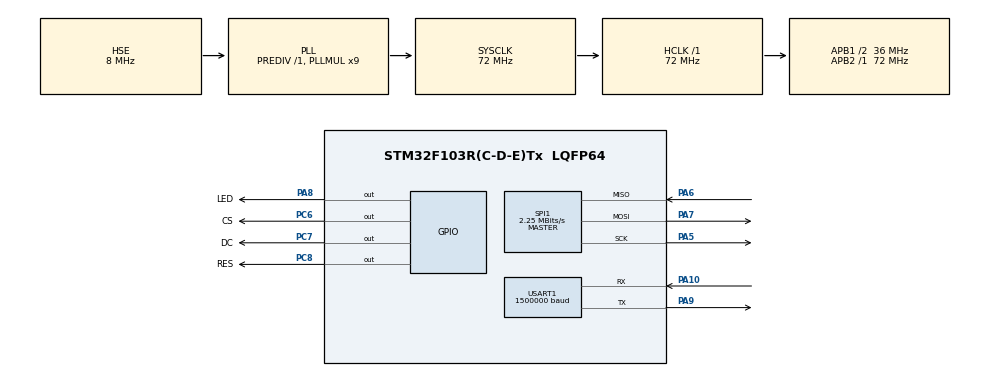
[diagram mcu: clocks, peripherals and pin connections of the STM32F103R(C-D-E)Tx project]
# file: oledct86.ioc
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Dma.Request0=SPI1_RX
Dma.Request1=SPI1_TX
Dma.Request2=USART1_RX
Dma.Request3=USART1_TX
Dma.SPI1_RX.0.Direction=DMA_PERIPH_TO_MEMORY
Dma.SPI1_RX.0.Instance=DMA1_Channel2
Dma.SPI1_RX.0.MemDataAlignment=DMA_MDATAALIGN_BYTE
Dma.SPI1_RX.0.MemInc=DMA_MINC_ENABLE
Dma.SPI1_RX.0.Mode=DMA_NORMAL
Dma.SPI1_RX.0.PeriphDataAlignment=DMA_PDATAALIGN_BYTE
Dma.SPI1_RX.0.PeriphInc=DMA_PINC_DISABLE
Dma.SPI1_RX.0.Priority=DMA_PRIORITY_LOW
Dma.SPI1_TX.1.Direction=DMA_MEMORY_TO_PERIPH
Dma.SPI1_TX.1.Instance=DMA1_Channel3
Dma.SPI1_TX.1.MemDataAlignment=DMA_MDATAALIGN_BYTE
Dma.SPI1_TX.1.MemInc=DMA_MINC_ENABLE
Dma.SPI1_TX.1.Mode=DMA_NORMAL
Dma.SPI1_TX.1.PeriphDataAlignment=DMA_PDATAALIGN_BYTE
Dma.SPI1_TX.1.PeriphInc=DMA_PINC_DISABLE
Dma.SPI1_TX.1.Priority=DMA_PRIORITY_LOW
Dma.USART1_RX.2.Direction=DMA_PERIPH_TO_MEMORY
Dma.USART1_RX.2.Instance=DMA1_Channel5
Dma.USART1_RX.2.MemDataAlignment=DMA_MDATAALIGN_BYTE
Dma.USART1_RX.2.MemInc=DMA_MINC_ENABLE
Dma.USART1_RX.2.Mode=DMA_NORMAL
Dma.USART1_RX.2.PeriphDataAlignment=DMA_PDATAALIGN_BYTE
Dma.USART1_RX.2.PeriphInc=DMA_PINC_DISABLE
Dma.USART1_RX.2.Priority=DMA_PRIORITY_LOW
Dma.USART1_TX.3.Direction=DMA_MEMORY_TO_PERIPH
Dma.USART1_TX.3.Instance=DMA1_Channel4
Dma.USART1_TX.3.MemDataAlignment=DMA_MDATAALIGN_BYTE
Dma.USART1_TX.3.MemInc=DMA_MINC_ENABLE
Dma.USART1_TX.3.Mode=DMA_NORMAL
Dma.USART1_TX.3.PeriphDataAlignment=DMA_PDATAALIGN_BYTE
Dma.USART1_TX.3.PeriphInc=DMA_PINC_DISABLE
Dma.USART1_TX.3.Priority=DMA_PRIORITY_LOW
Mcu.Family=STM32F1
Mcu.Name=STM32F103R(C-D-E)Tx
Mcu.Package=LQFP64
NVIC.DMA1_Channel2_IRQn=true\:0\:0\:false\:false\:true\:false\:true
NVIC.DMA1_Channel3_IRQn=true\:0\:0\:false\:false\:true\:false\:true
NVIC.DMA1_Channel4_IRQn=true\:0\:0\:false\:false\:true\:false\:true
NVIC.DMA1_Channel5_IRQn=true\:0\:0\:false\:false\:true\:false\:true
NVIC.PriorityGroup=NVIC_PRIORITYGROUP_4
NVIC.SPI1_IRQn=true\:1\:0\:true\:false\:true\:true\:true
NVIC.USART1_IRQn=true\:1\:0\:true\:false\:true\:true\:true
PA10.Mode=Asynchronous
PA10.Signal=USART1_RX
PA13.Mode=Serial_Wire
PA13.Signal=SYS_JTMS-SWDIO
PA14.Mode=Serial_Wire
PA14.Signal=SYS_JTCK-SWCLK
PA5.Mode=Full_Duplex_Master
PA5.Signal=SPI1_SCK
PA6.Mode=Full_Duplex_Master
PA6.Signal=SPI1_MISO
PA7.Mode=Full_Duplex_Master
PA7.Signal=SPI1_MOSI
PA8.GPIO_Label=LED
PA8.Signal=GPIO_Output
PA9.Mode=Asynchronous
PA9.Signal=USART1_TX
PC6.GPIO_Label=CS
PC6.GPIO_Speed=GPIO_SPEED_FREQ_HIGH
PC6.Signal=GPIO_Output
PC7.GPIO_Label=DC
PC7.GPIO_Speed=GPIO_SPEED_FREQ_HIGH
PC7.Signal=GPIO_Output
PC8.GPIO_Label=RES
PC8.GPIO_Speed=GPIO_SPEED_FREQ_HIGH
PC8.Signal=GPIO_Output
PD0-OSC_IN.Mode=HSE-External-Oscillator
PD0-OSC_IN.Signal=RCC_OSC_IN
PD1-OSC_OUT.Mode=HSE-External-Oscillator
PD1-OSC_OUT.Signal=RCC_OSC_OUT
ProjectManager.HeapSize=0x200
ProjectManager.StackSize=0x400
ProjectManager.TargetToolchain=MDK-ARM V5.27
RCC.AHBFreq_Value=72000000
RCC.APB1CLKDivider=RCC_HCLK_DIV2
RCC.APB1Freq_Value=36000000
RCC.APB1TimFreq_Value=72000000
RCC.APB2Freq_Value=72000000
RCC.APB2TimFreq_Value=72000000
RCC.EnbaleCSS=true
RCC.HCLKFreq_Value=72000000
RCC.PLLMUL=RCC_PLL_MUL9
RCC.PLLSourceVirtual=RCC_PLLSOURCE_HSE
RCC.SYSCLKFreq_VALUE=72000000
RCC.SYSCLKSource=RCC_SYSCLKSOURCE_PLLCLK
RCC.USBFreq_Value=72000000
SPI1.BaudRatePrescaler=SPI_BAUDRATEPRESCALER_32
SPI1.CalculateBaudRate=2.25 MBits/s
SPI1.Direction=SPI_DIRECTION_2LINES
SPI1.Mode=SPI_MODE_MASTER
SPI1.VirtualType=VM_MASTER
USART1.BaudRate=1500000
USART1.VirtualMode=VM_ASYNC
board=custom

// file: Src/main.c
/* USER CODE BEGIN Header */
/**
  ******************************************************************************
  * @file           : main.c
  * @brief          : Main program body
  ******************************************************************************
  * @attention
  *
  * <h2><center>&copy; Copyright (c) 2021 STMicroelectronics.
  * All rights reserved.</center></h2>
  *
  * This software component is licensed by ST under BSD 3-Clause license,
  * the "License"; You may not use this file except in compliance with the
  * License. You may obtain a copy of the License at:
  *                        opensource.org/licenses/BSD-3-Clause
  *
  ******************************************************************************
  */
/* USER CODE END Header */
#include "main.h"
#include "dma.h"
#include "spi.h"
#include "usart.h"
#include "gpio.h"

/* USER CODE BEGIN Includes */
#include "string.h"
#include "u8x8.h"
#include "u8g2.h"
#include "stdio.h"
/* USER CODE END Includes */

/* USER CODE BEGIN PTD */
#define U1_printf1_IT(...) HAL_UART_Transmit_IT(&huart1,\
																			(uint8_t *)u_buf,\
																			 sprintf((char *)u_buf,__VA_ARGS__));
#define U1_printf1_DMA(...) HAL_UART_Transmit_DMA(&huart1,\
																			(uint8_t *)u_buf,\
																			 sprintf((char *)u_buf,__VA_ARGS__));
#define U1_printf1(...) HAL_UART_Transmit(&huart1,\
																			(uint8_t *)u_buf,\
																			 sprintf((char *)u_buf,__VA_ARGS__),\
																			 0xFFFF);
/* USER CODE END PTD */

void SystemClock_Config(void);

/* USER CODE BEGIN 0 */
uint8_t u_buf[256],buff[600];
uint8_t u8x8_gpio_and_delay_template(u8x8_t *u8x8, uint8_t msg, uint8_t arg_int, void *arg_ptr){
  switch(msg)
  {
    case U8X8_MSG_GPIO_AND_DELAY_INIT:	// called once during init phase of u8g2/u8x8
		break;							// can be used to setup pins
    case U8X8_MSG_DELAY_NANO:			// delay arg_int * 1 nano second
      break;
    case U8X8_MSG_DELAY_100NANO:		// delay arg_int * 100 nano seconds
			//__NOP();
      break;
    case U8X8_MSG_DELAY_10MICRO:		// delay arg_int * 10 micro seconds
//				for (uint16_t n = 0; n < 320; n++)
//    {
//       __NOP();
//    }
      break;
    case U8X8_MSG_DELAY_MILLI:			// delay arg_int * 1 milli second
			HAL_Delay (arg_int);
      break;
    //case U8X8_MSG_GPIO_D0:				// D0 or SPI clock pin: Output level in arg_int
    case U8X8_MSG_GPIO_SPI_CLOCK:
//		if(arg_int == 1)
//        	SCLOutput(1);
//        else if(arg_int == 0)
//        	SCLOutput(0);
      break;
    //case U8X8_MSG_GPIO_D1:				// D1 or SPI data pin: Output level in arg_int
    case U8X8_MSG_GPIO_SPI_DATA:
//		if(arg_int == 1)
//        	SDAOutput(1);
//        else if(arg_int == 0)
//          SDAOutput(1);
      break;
    case U8X8_MSG_GPIO_D2:				// D2 pin: Output level in arg_int
      break;
    case U8X8_MSG_GPIO_D3:				// D3 pin: Output level in arg_int
      break;
    case U8X8_MSG_GPIO_D4:				// D4 pin: Output level in arg_int
      break;
    case U8X8_MSG_GPIO_D5:				// D5 pin: Output level in arg_int
      break;
    case U8X8_MSG_GPIO_D6:				// D6 pin: Output level in arg_int
      break;
    case U8X8_MSG_GPIO_D7:				// D7 pin: Output level in arg_int
      break;
    case U8X8_MSG_GPIO_E:				// E/WR pin: Output level in arg_int
      break;
    case U8X8_MSG_GPIO_CS:				// CS (chip select) pin: Output level in arg_int
         if(arg_int == 1)
        	//LL_GPIO_SetOutputPin(GPIOA, CS_Pin);
				 HAL_GPIO_WritePin (GPIOC,CS_Pin ,1);
        else if(arg_int == 0)
        	//LL_GPIO_ResetOutputPin(GPIOA, CS_Pin);
				 HAL_GPIO_WritePin (GPIOC,CS_Pin ,0);
		break;
    case U8X8_MSG_GPIO_DC:				// DC (data/cmd, A0, register select) pin: Output level in arg_int
         if(arg_int == 1)
        	//LL_GPIO_SetOutputPin(GPIOB, DC_Pin);
				  HAL_GPIO_WritePin (GPIOC,DC_Pin ,1);
        else if(arg_int == 0)
        	//LL_GPIO_ResetOutputPin(GPIOB, DC_Pin);
				 HAL_GPIO_WritePin (GPIOC,DC_Pin ,0);

		break;
    case U8X8_MSG_GPIO_RESET:			// Reset pin: Output level in arg_int
         if(arg_int == 1)
        	//LL_GPIO_SetOutputPin(GPIOB, RES_Pin);
				  HAL_GPIO_WritePin (GPIOC,RES_Pin ,1);
        else if(arg_int == 0)
        	//LL_GPIO_ResetOutputPin(GPIOB, RES_Pin);
				 HAL_GPIO_WritePin (GPIOC,RES_Pin ,0);
      break;
    case U8X8_MSG_GPIO_CS1:				// CS1 (chip select) pin: Output level in arg_int
      break;
    case U8X8_MSG_GPIO_CS2:				// CS2 (chip select) pin: Output level in arg_int
      break;
    case U8X8_MSG_GPIO_I2C_CLOCK:		// arg_int=0: Output low at I2C clock pin
      break;							// arg_int=1: Input dir with pullup high for I2C clock pin
    case U8X8_MSG_GPIO_I2C_DATA:			// arg_int=0: Output low at I2C data pin
      break;							// arg_int=1: Input dir with pullup high for I2C data pin
    case U8X8_MSG_GPIO_MENU_SELECT:
      u8x8_SetGPIOResult(u8x8, /* get menu select pin state */ 0);
      break;
    case U8X8_MSG_GPIO_MENU_NEXT:
      u8x8_SetGPIOResult(u8x8, /* get menu next pin state */ 0);
      break;
    case U8X8_MSG_GPIO_MENU_PREV:
      u8x8_SetGPIOResult(u8x8, /* get menu prev pin state */ 0);
      break;
    case U8X8_MSG_GPIO_MENU_HOME:
      u8x8_SetGPIOResult(u8x8, /* get menu home pin state */ 0);
      break;
    default:
      u8x8_SetGPIOResult(u8x8, 1);			// default return value
      break;
  }
  return 1;
}

uint8_t u8x8_byte_arduino_hw_spi(u8x8_t *u8x8, uint8_t msg, uint8_t arg_int, void *arg_ptr) {
  uint8_t *data;
	uint8_t byte;
  switch(msg) {
    case U8X8_MSG_BYTE_SEND:
      data = (uint8_t *)arg_ptr;
      while( arg_int > 0 ) {
				byte=*data;
				//buffer[buf_idx++] = byte;
				//LL_SPI_TransmitData8(SPI1,byte);
				HAL_SPI_Transmit(&hspi1 ,&byte,1,9999);
				//buf_idx++;
        data++;
        arg_int--;
      }
      break;
    case U8X8_MSG_BYTE_INIT:
      u8x8_gpio_SetCS(u8x8, u8x8->display_info->chip_disable_level);
      break;
    case U8X8_MSG_BYTE_SET_DC:
      u8x8_gpio_SetDC(u8x8, arg_int);
      break;
    case U8X8_MSG_BYTE_START_TRANSFER:
      /* SPI mode has to be mapped to the mode of the current controller, at least Uno, Due, 101 have different SPI_MODEx values */
      u8x8_gpio_SetCS(u8x8, u8x8->display_info->chip_enable_level);
      u8x8->gpio_and_delay_cb(u8x8, U8X8_MSG_DELAY_NANO, u8x8->display_info->post_chip_enable_wait_ns, NULL);
      break;
    case U8X8_MSG_BYTE_END_TRANSFER:

      u8x8->gpio_and_delay_cb(u8x8, U8X8_MSG_DELAY_NANO, u8x8->display_info->pre_chip_disable_wait_ns, NULL);
      u8x8_gpio_SetCS(u8x8, u8x8->display_info->chip_disable_level);

      break;
    default:
      return 0;
  }
  return 1;
}

u8g2_t u8g2;
/* USER CODE END 0 */

int main(void)
{

  /* MCU Configuration--------------------------------------------------------*/

  /* Reset of all peripherals, Initializes the Flash interface and the Systick. */
  HAL_Init();

  /* Configure the system clock */
  SystemClock_Config();

  /* Initialize all configured peripherals */
  MX_GPIO_Init();
  MX_DMA_Init();
  MX_SPI1_Init();
  MX_USART1_UART_Init();
  /* USER CODE BEGIN 2 */
HAL_UART_Receive_IT((UART_HandleTypeDef *)&huart1, (uint8_t *)buff, (uint16_t) 600);

u8g2_Setup_ssd1306_128x64_noname_f(&u8g2, U8G2_R0,u8x8_byte_arduino_hw_spi,u8x8_gpio_and_delay_template);//u8x8_byte_4wire_sw_spi u8x8_byte_arduino_hw_spi
u8g2_InitDisplay(&u8g2);                                                                         // send init sequence to the display, display is in sleep mode after this,
u8g2_SetPowerSave(&u8g2, 0);
u8g2_ClearBuffer(&u8g2);
  /* USER CODE END 2 */

  /* Infinite loop */
  while (1)
  {

  }
}

void SystemClock_Config(void)
{
  RCC_OscInitTypeDef RCC_OscInitStruct = {0};
  RCC_ClkInitTypeDef RCC_ClkInitStruct = {0};

  /** Initializes the RCC Oscillators according to the specified parameters
  * in the RCC_OscInitTypeDef structure.
  */
  RCC_OscInitStruct.OscillatorType = RCC_OSCILLATORTYPE_HSE;
  RCC_OscInitStruct.HSEState = RCC_HSE_ON;
  RCC_OscInitStruct.HSEPredivValue = RCC_HSE_PREDIV_DIV1;
  RCC_OscInitStruct.HSIState = RCC_HSI_ON;
  RCC_OscInitStruct.PLL.PLLState = RCC_PLL_ON;
  RCC_OscInitStruct.PLL.PLLSource = RCC_PLLSOURCE_HSE;
  RCC_OscInitStruct.PLL.PLLMUL = RCC_PLL_MUL9;
  if (HAL_RCC_OscConfig(&RCC_OscInitStruct) != HAL_OK)
  {
    Error_Handler();
  }
  /** Initializes the CPU, AHB and APB buses clocks
  */
  RCC_ClkInitStruct.ClockType = RCC_CLOCKTYPE_HCLK|RCC_CLOCKTYPE_SYSCLK
                              |RCC_CLOCKTYPE_PCLK1|RCC_CLOCKTYPE_PCLK2;
  RCC_ClkInitStruct.SYSCLKSource = RCC_SYSCLKSOURCE_PLLCLK;
  RCC_ClkInitStruct.AHBCLKDivider = RCC_SYSCLK_DIV1;
  RCC_ClkInitStruct.APB1CLKDivider = RCC_HCLK_DIV2;
  RCC_ClkInitStruct.APB2CLKDivider = RCC_HCLK_DIV1;

  if (HAL_RCC_ClockConfig(&RCC_ClkInitStruct, FLASH_LATENCY_2) != HAL_OK)
  {
    Error_Handler();
  }
  /** Enables the Clock Security System
  */
  HAL_RCC_EnableCSS();
}

/* USER CODE BEGIN 4 */
void HAL_UART_RxCpltCallback(UART_HandleTypeDef *huart)
{
if(huart -> Instance == USART1)
	 {
			do {
		 //u8g2_ClearBuffer(&u8g2);
		 u8g2_DrawXBM(&u8g2,(128-80)/2, (64-60)/2, 80,60, buff);
		// u8g2_SendBuffer(&u8g2);
			} while (u8g2_NextPage(&u8g2));
			HAL_GPIO_TogglePin (GPIOA,LED_Pin );
			HAL_UART_Receive_IT((UART_HandleTypeDef *)&huart1, (uint8_t *)buff, (uint16_t) 600);
				U1_printf1_IT("1");

	 }
}
/* USER CODE END 4 */

void Error_Handler(void)
{
  __disable_irq();
  while (1)
  {
  }
}

/************************ (C) COPYRIGHT STMicroelectronics *****END OF FILE****/
